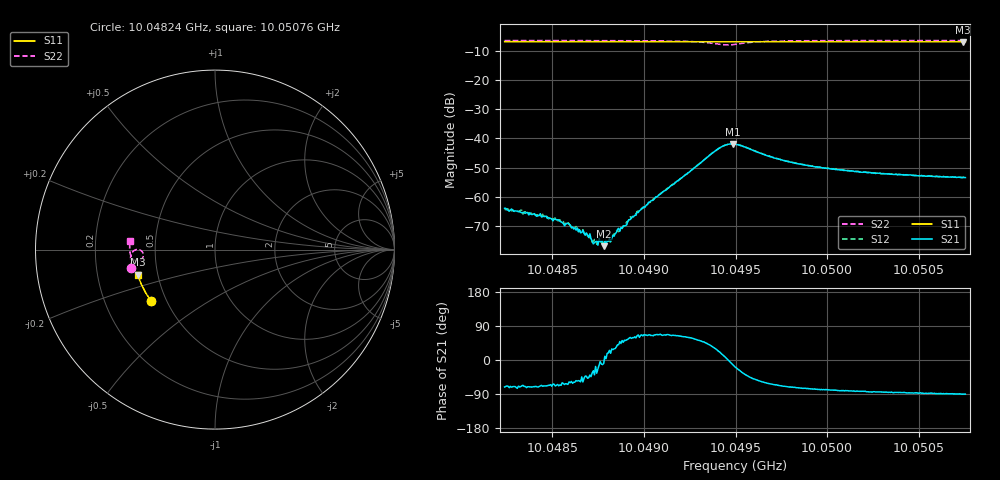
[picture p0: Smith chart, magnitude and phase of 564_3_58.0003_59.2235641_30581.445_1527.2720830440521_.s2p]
#  HZ  S  RI  R  50.00
! Rohde & Schwarz Vector Network Analyzer
! Rohde-Schwarz,ZNB20-2Port,1311601062101988,3.16
! Created: UTC 3/21/2024, 1:15:38 AM
! freq[Hz]  re:S11  im:S11  re:S21  im:S21  re:S12  im:S12  re:S22  im:S22
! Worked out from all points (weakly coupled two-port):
!   401 points, 10.04824 GHz to 10.05076 GHz, reference 50 ohm
!   highest |S21| = -41.90 dB at 10.04948 GHz (marker M1); lowest = -76.9 dB at 10.04878 GHz (marker M2)
!   lowest |S11| = -6.9 dB at 10.05074 GHz (marker M3), VSWR 2.65, Z = 19.3 - j6.76 ohm
!   |S11| at or under -10 dB: nowhere
!   |S22| runs from -8.0 to -6.4 dB; largest |S21 - S12| = 0.00058
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1.0048238e10  -0.3564 -0.2854  0.000203 -0.000602  0.000242 -0.00054  -0.4662 -0.1031
1.0048459e10  -0.3649 -0.2735  0.000169 -0.000425  0.000193 -0.000427  -0.4687 -0.0875
1.0048585e10  -0.3697 -0.2669  0.000151 -0.000316  0.00019 -0.000305  -0.4699 -0.0782
1.0048616e10  -0.371 -0.2649  0.000145 -0.000239  0.000148 -0.000243  -0.4701 -0.0757
1.004866e10  -0.3724 -0.2626  0.000175 -0.000172  0.000196 -0.000199  -0.4705 -0.0723
1.0048698e10  -0.3739 -0.2604  0.000137 -0.000146  0.000172 -0.000118  -0.4707 -0.0694
1.0048729e10  -0.3751 -0.2588  0.000126 -0.000103  0.000165 -8.4e-05  -0.4708 -0.0667
1.004878e10  -0.3769 -0.2559  0.00014 -2.32e-05  0.000147 1.66e-05  -0.4711 -0.0628
1.0048817e10  -0.3781 -0.2539  0.000162 5.2e-05  0.000155 6.43e-05  -0.4712 -0.0594
1.0048836e10  -0.3788 -0.2527  0.000184 0.000104  0.000175 0.00015  -0.4712 -0.0578
1.0048874e10  -0.3801 -0.2507  0.000215 0.000205  0.000189 0.000233  -0.4711 -0.0547
1.0048918e10  -0.3816 -0.2482  0.000219 0.000342  0.000211 0.000344  -0.4709 -0.0507
1.0049082e10  -0.3871 -0.2389  0.000425 0.000999  0.000366 0.001  -0.4689 -0.0339
1.0049397e10  -0.3966 -0.2205  0.00562 0.00294  0.00543 0.00327  -0.4172 -0.00201
1.0049447e10  -0.398 -0.2179  0.00767 0.000821  0.00763 0.00133  -0.4004 -0.0221
1.0049485e10  -0.3989 -0.2157  0.00785 -0.0017  0.00799 -0.00119  -0.402 -0.0439
1.0049497e10  -0.3993 -0.2151  0.00755 -0.00246  0.00775 -0.00191  -0.4056 -0.05
1.0049718e10  -0.4061 -0.2025  0.00188 -0.00416  0.00217 -0.00407  -0.4636 -0.0448
1.0049919e10  -0.4117 -0.1903  0.000775 -0.00324  0.00098 -0.00321  -0.4728 -0.0208
1.0050341e10  -0.422 -0.1647  0.000218 -0.00244  0.000359 -0.00246  -0.4752 0.0153
1.0050744e10  -0.4301 -0.1396  -2.58e-06 -0.00214  0.000139 -0.00214  -0.4738 0.0445
1.0050756e10  -0.4305 -0.1388  -1.09e-07 -0.00213  9.34e-05 -0.00212  -0.4738 0.0454
